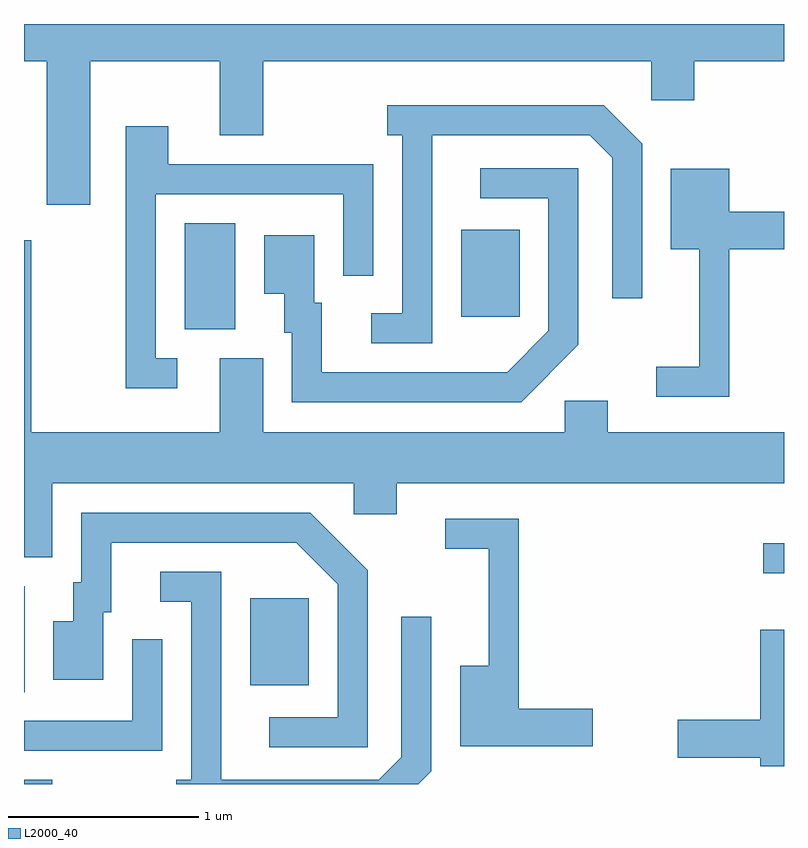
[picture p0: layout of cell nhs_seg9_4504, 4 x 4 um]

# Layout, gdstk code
import gdstk
lib = gdstk.Library(unit=1e-6, precision=1e-09)
def R(c, l, rs):  # rectangles x0, y0, x1, y1
    for r in rs: c.add(gdstk.rectangle(r[:2], r[2:], *l))
def P(c, l, *ps):  # polygons
    for p in ps: c.add(gdstk.Polygon(p, *l))
L2000_40 = (2000, 40)

nhs_seg9_4504 = lib.new_cell('nhs_seg9_4504')
R(nhs_seg9_4504, L2000_40, [(317.611,2012.432,317.759,2012.454), (317.611,2012.916,317.614,2013.474), (318.801,2012.951,319.109,2013.409), (321.503,2013.541,321.611,2013.699), (318.456,2014.826,318.724,2015.384), (319.911,2014.891,320.219,2015.349)])
P(nhs_seg9_4504, L2000_40, [(317.959,2016.236),(318.641,2016.236),(318.641,2015.846),(318.869,2015.846),(318.869,2016.236),(320.911,2016.236),(320.911,2016.031),(321.139,2016.031),(321.139,2016.236),(321.611,2016.236),(321.611,2016.432),(317.611,2016.432),(317.611,2016.236),(317.731,2016.236),(317.731,2015.481),(317.959,2015.481)],
  [(319.759,2015.846),(320.589,2015.846),(320.706,2015.729),(320.706,2014.988),(320.864,2014.988),(320.864,2015.802),(320.662,2016.004),(319.523,2016.004),(319.523,2015.846),(319.601,2015.846),(319.601,2014.909),(319.438,2014.909),(319.438,2014.751),(319.759,2014.751)],
  [(318.418,2014.674),(318.304,2014.674),(318.304,2015.536),(319.291,2015.536),(319.291,2015.108),(319.449,2015.108),(319.449,2015.694),(318.369,2015.694),(318.369,2015.894),(318.146,2015.894),(318.146,2014.516),(318.418,2014.516)],
  [(320.529,2014.744),(320.529,2015.674),(320.013,2015.674),(320.013,2015.516),(320.371,2015.516),(320.371,2014.817),(320.154,2014.599),(319.179,2014.599),(319.179,2014.964),(319.139,2014.964),(319.139,2015.319),(318.876,2015.319),(318.876,2015.011),(318.981,2015.011),(318.981,2014.806),(319.021,2014.806),(319.021,2014.441),(320.227,2014.441)],
  [(321.324,2015.246),(321.611,2015.246),(321.611,2015.444),(321.324,2015.444),(321.324,2015.669),(321.016,2015.669),(321.016,2015.246),(321.166,2015.246),(321.166,2014.629),(320.938,2014.629),(320.938,2014.471),(321.324,2014.471)],
  [(318.869,2014.674),(318.641,2014.674),(318.641,2014.284),(317.649,2014.284),(317.649,2015.294),(317.611,2015.294),(317.611,2013.626),(317.759,2013.626),(317.759,2014.016),(319.346,2014.016),(319.346,2013.851),(319.574,2013.851),(319.574,2014.016),(321.611,2014.016),(321.611,2014.284),(320.684,2014.284),(320.684,2014.449),(320.456,2014.449),(320.456,2014.284),(318.869,2014.284)],
  [(319.419,2013.557),(319.117,2013.859),(317.911,2013.859),(317.911,2013.494),(317.871,2013.494),(317.871,2013.289),(317.766,2013.289),(317.766,2012.981),(318.029,2012.981),(318.029,2013.336),(318.069,2013.336),(318.069,2013.701),(319.044,2013.701),(319.261,2013.484),(319.261,2012.784),(318.903,2012.784),(318.903,2012.626),(319.419,2012.626)],
  [(320.604,2012.829),(320.214,2012.829),(320.214,2013.829),(319.828,2013.829),(319.828,2013.671),(320.056,2013.671),(320.056,2013.054),(319.906,2013.054),(319.906,2012.631),(320.604,2012.631)],
  [(319.754,2012.499),(319.754,2013.313),(319.596,2013.313),(319.596,2012.572),(319.479,2012.454),(318.649,2012.454),(318.649,2013.549),(318.328,2013.549),(318.328,2013.391),(318.491,2013.391),(318.491,2012.454),(318.413,2012.454),(318.413,2012.432),(319.687,2012.432)],
  [(321.611,2013.244),(321.486,2013.244),(321.486,2012.769),(321.051,2012.769),(321.051,2012.571),(321.486,2012.571),(321.486,2012.526),(321.611,2012.526)],
  [(318.339,2013.193),(318.181,2013.193),(318.181,2012.764),(317.611,2012.764),(317.611,2012.606),(318.339,2012.606)])

lib.write_gds('nhs_seg9_4504.gds')
